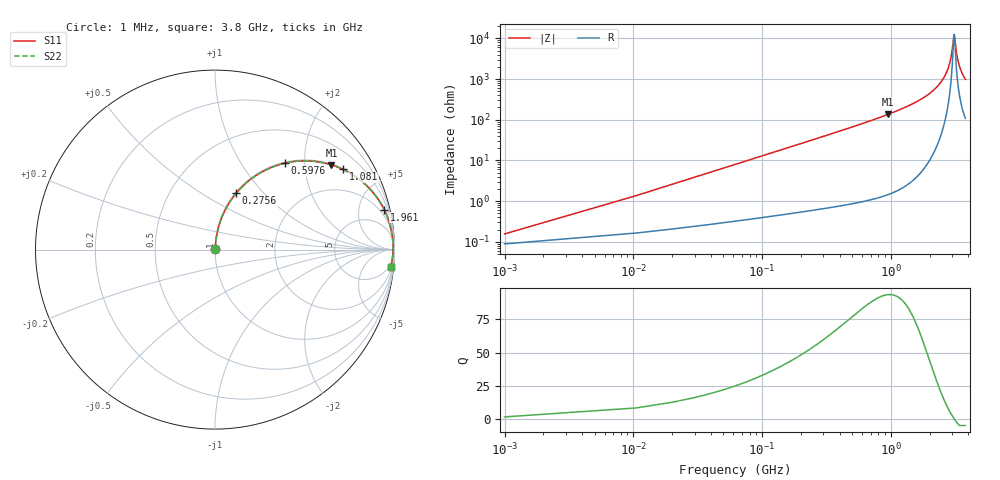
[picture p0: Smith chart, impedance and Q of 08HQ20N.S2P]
! Coilcraft 0805HQ-20N Chip Inductor
! 19 June 2002
# MHZ S MA R 50
!Freq  MagS11  AngS11  MagS21  AngS21  MagS12  AngS12  MagS22  AngS22
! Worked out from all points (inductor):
!   403 points, 1 MHz to 3.8 GHz, reference 50 ohm
!   read as one part in series: L = 20.5 nH near 19.94 MHz
!   highest Q = 93.8 at 957.5 MHz (marker M1), where L = 22.7 nH
!   self-resonance near 3.107 GHz
!   S11 on the Smith chart (normalised r, x): 1 MHz: 1.00, +0.00; 275.6 MHz: 1.01, +0.72; 597.6 MHz: 1.02, +1.60; 1.081 GHz: 1.03, +3.17; 1.961 GHz: 1.18, +8.39; 3.8 GHz: 3, -20
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1  0.001563 55.3  0.9991 -0.1  0.9991 -0.1  0.001563 55.3
29.41  0.03784 84.2  0.9969 -2.2  0.9969 -2.2  0.03784 84.2
48.35  0.06206 83.8  0.9952 -3.6  0.9952 -3.6  0.06206 83.8
67.29  0.08617 82.9  0.993 -4.9  0.993 -4.9  0.08617 82.9
143.05  0.1808 78.2  0.979 -10.4  0.979 -10.4  0.1808 78.2
275.63  0.3351 69.4  0.9363 -19.6  0.9363 -19.6  0.3351 69.4
597.61  0.6208 50.9  0.7766 -38.4  0.7766 -38.4  0.6208 50.9
635.49  0.6458 49.1  0.7559 -40.2  0.7559 -40.2  0.6458 49.1
957.47  0.8021 36.1  0.5886 -53.3  0.5886 -53.3  0.8021 36.1
1080.58  0.8414 32.1  0.5314 -57.3  0.5314 -57.3  0.8414 32.1
1269.98  0.8871 26.8  0.4517 -62.5  0.4517 -62.5  0.8871 26.8
1904.47  0.9645 14.2  0.2455 -74.6  0.2455 -74.6  0.9645 14.2
1961.29  0.9681 13.3  0.2306 -75.4  0.2306 -75.4  0.9681 13.3
2538.96  0.9888 5.8  0.1007 -80.8  0.1007 -80.8  0.9888 5.8
2879.88  0.9921 2.2  0.03848 -77.1  0.03848 -77.1  0.9921 2.2
2974.58  0.9923 1.2  0.02301 -69.8  0.02301 -69.8  0.9923 1.2
3097.69  0.9921 0.1  0.008113 -11.7  0.008113 -11.7  0.9921 0.1
3126.1  0.9919 -0.2  0.00854 19.4  0.00854 19.4  0.9919 -0.2
3173.45  0.9917 -0.6  0.01318 50.8  0.01318 50.8  0.9917 -0.6
3268.15  0.9911 -1.4  0.0263 69.5  0.0263 69.5  0.9911 -1.4
3391.26  0.99 -2.5  0.04408 75.6  0.04408 75.6  0.99 -2.5
3800  0.9841 -5.7  0.09996 78.0  0.09996 78.0  0.9841 -5.7
